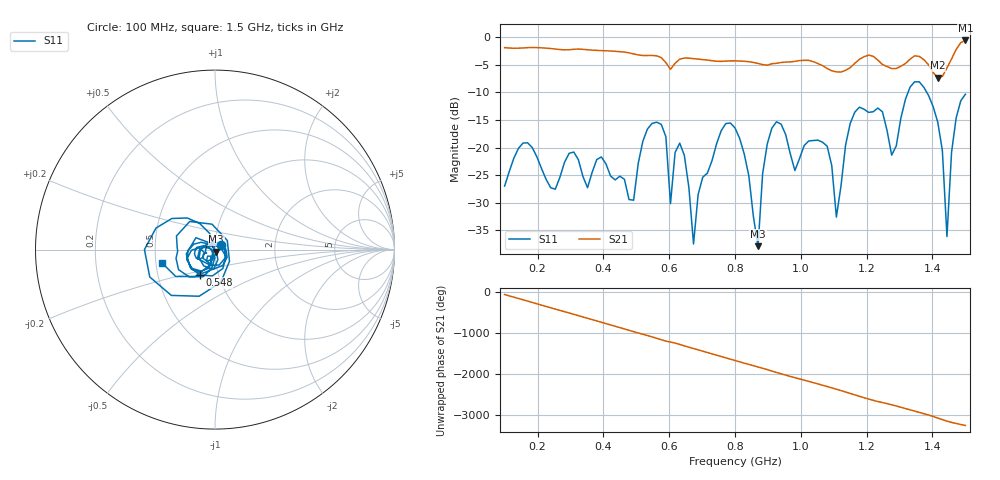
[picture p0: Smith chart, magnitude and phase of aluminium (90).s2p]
! NanoVNA-App
! Date: 2025-09-26 09:58:45
! Start: 100MHz Stop: 1,5GHz Points: 101
! S-Parameter data: F S11 S21 S12 S22
# Hz S RI R 50
!  Frequency  S11_Real  S11_Imag  S21_Real  S21_Imag  S12_Real  S12_Imag  S22_Real  S22_Imag
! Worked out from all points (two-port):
!   101 points, 100 MHz to 1.5 GHz, reference 50 ohm
!   highest |S21| = -0.61 dB at 1.5 GHz (marker M1); lowest = -7.3 dB at 1.416 GHz (marker M2)
!   |S21| within 3 dB of the highest: start of sweep to 571.4 MHz; 1.19 GHz to 1.223 GHz (32.28 MHz wide, 2.68 % of centre) (the widest 2 of 4)
!   lowest |S11| = -37.9 dB at 870 MHz (marker M3), VSWR 1.03, Z = 50.7 - j1.08 ohm
!   |S11| at or under -10 dB: start of sweep to 1.326 GHz; 1.383 GHz to end of sweep
!   S12 and S22 are empty: the file has one direction only
!   S11 on the Smith chart (normalised r, x): 100 MHz: 1.07, +0.06; 548 MHz: 0.81, -0.24; 1.5 GHz: 0.54, -0.09
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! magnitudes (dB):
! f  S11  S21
! 100 MHz  -27.0  -1.9
! 156 MHz  -19.2  -2.0
! 338 MHz  -25.2  -2.2
! 492 MHz  -29.5  -3.1
! 548 MHz  -15.6  -3.3
! 576 MHz  -15.8  -3.7
! 604 MHz  -30.2  -5.8
! 646 MHz  -21.4  -3.8
! 674 MHz  -37.5  -3.9
! 702 MHz  -25.4  -4.1
! 800 MHz  -16.4  -4.3
! 870 MHz  -37.9  -4.8
! 912 MHz  -16.5  -4.8
! 1.038 GHz  -18.7  -4.5
! 1.108 GHz  -32.6  -6.3
! 1.164 GHz  -13.6  -4.8
! 1.276 GHz  -21.4  -5.7
! 1.346 GHz  -8.1  -3.4
! 1.416 GHz  -15.4  -7.3
! 1.444 GHz  -36.1  -5.6
! 1.458 GHz  -20.8  -4.0
! 1.5 GHz  -10.3  -0.6
